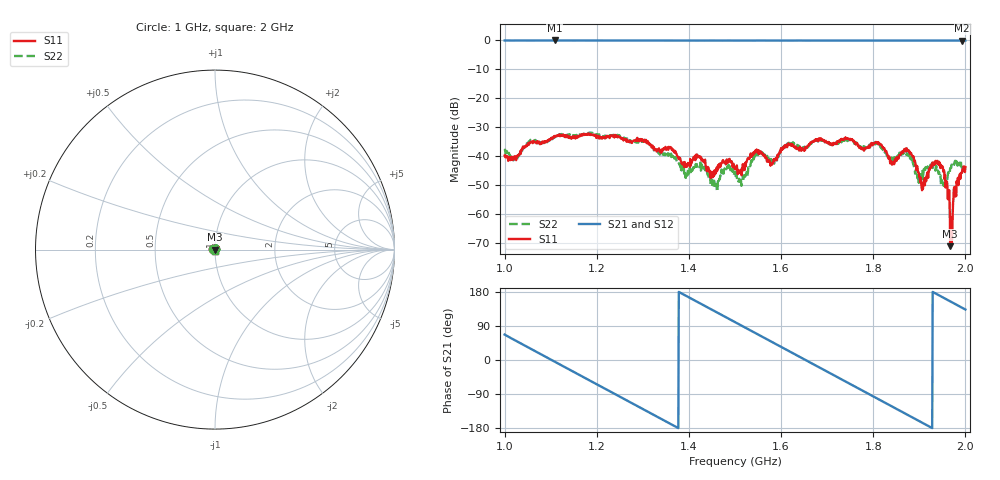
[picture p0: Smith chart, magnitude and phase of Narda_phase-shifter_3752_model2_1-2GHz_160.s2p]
#  HZ  S  DB  R  50.00
! Rohde & Schwarz Vector Network Analyzer
! Rohde-Schwarz,ZNB8-4Port,1311601044102961,2.82
! Created: UTC 1/17/2019, 2:36:05 PM
! freq[Hz]  db:S11  ang:S11  db:S21  ang:S21  db:S12  ang:S12  db:S22  ang:S22
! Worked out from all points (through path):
!   1001 points, 1 GHz to 2 GHz, reference 50 ohm
!   highest |S21| = -0.07 dB at 1.109 GHz (marker M1); lowest = -0.1 dB at 1.993 GHz (marker M2)
!   group delay of S21, straight-line fit = 1.81 ns
!   lowest |S11| = -71.1 dB at 1.967 GHz (marker M3), VSWR 1.00, Z = 50 + j0.00679 ohm
!   |S11| at or under -10 dB: start of sweep to end of sweep
!   |S22| runs from -52.3 to -31.8 dB; largest |S21 - S12| = 0.011
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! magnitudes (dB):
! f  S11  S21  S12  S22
! 1 GHz  -39.8  -0.1  -0.1  -38.1
! 1.109 GHz  -33.3  -0.1  -0.1  -33.6
! 1.167 GHz  -32.9  -0.1  -0.1  -32.6
! 1.334 GHz  -37.9  -0.1  -0.1  -39.0
! 1.395 GHz  -43.7  -0.1  -0.1  -46.8
! 1.43 GHz  -41.8  -0.1  -0.1  -43.9
! 1.457 GHz  -46.3  -0.1  -0.1  -50.5
! 1.481 GHz  -41.6  -0.1  -0.1  -44.6
! 1.5 GHz  -44.6  -0.1  -0.1  -45.9
! 1.515 GHz  -44.2  -0.1  -0.1  -49.6
! 1.55 GHz  -38.5  -0.1  -0.1  -39.7
! 1.578 GHz  -43.0  -0.1  -0.1  -41.0
! 1.667 GHz  -35.3  -0.1  -0.1  -35.4
! 1.808 GHz  -35.3  -0.1  -0.1  -35.9
! 1.834 GHz  -40.8  -0.1  -0.1  -40.4
! 1.877 GHz  -38.0  -0.1  -0.1  -39.5
! 1.907 GHz  -51.1  -0.1  -0.1  -45.5
! 1.944 GHz  -43.2  -0.1  -0.1  -47.2
! 1.96 GHz  -48.8  -0.1  -0.1  -49.7
! 1.967 GHz  -71.1  -0.1  -0.1  -44.1
! 1.993 GHz  -45.6  -0.1  -0.1  -44.2
! 2 GHz  -43.8  -0.1  -0.1  -45.9
